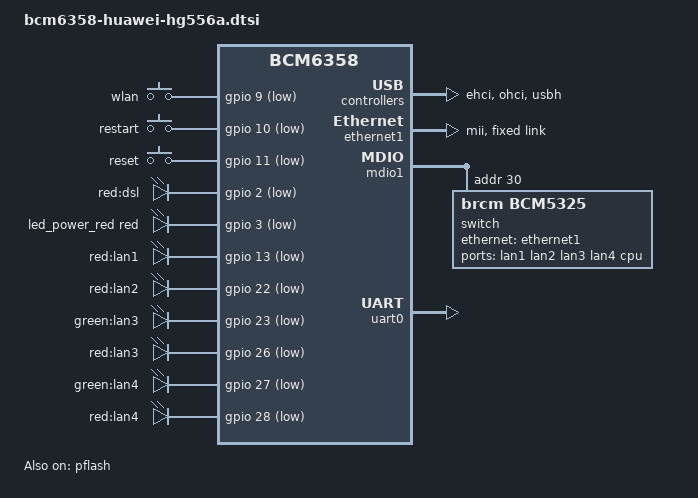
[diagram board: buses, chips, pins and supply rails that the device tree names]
// SPDX-License-Identifier: GPL-2.0-or-later

#include "bcm6358.dtsi"

/ {
	aliases {
		led-boot = &led_power_red;
		led-failsafe = &led_power_red;
		led-running = &led_power_red;
		led-upgrade = &led_power_red;
	};

	gpio_keys: keys {
		compatible = "gpio-keys-polled";
		poll-interval = <100>;

		wlan {
			label = "wlan";
			gpios = <&gpio 9 GPIO_ACTIVE_LOW>;
			linux,code = <KEY_WLAN>;
			debounce-interval = <60>;
		};

		restart {
			label = "restart";
			gpios = <&gpio 10 GPIO_ACTIVE_LOW>;
			linux,code = <KEY_RESTART>;
			debounce-interval = <60>;
		};

		reset {
			label = "reset";
			gpios = <&gpio 11 GPIO_ACTIVE_LOW>;
			linux,code = <KEY_CONFIG>;
			debounce-interval = <60>;
		};
	};

	gpio_leds: leds {
		compatible = "gpio-leds";

		led-2 {
			label = "red:dsl";
			gpios = <&gpio 2 GPIO_ACTIVE_LOW>;
		};

		led_power_red: led-3 {
			function = LED_FUNCTION_POWER;
			color = <LED_COLOR_ID_RED>;
			gpios = <&gpio 3 GPIO_ACTIVE_LOW>;
		};

		led-13 {
			label = "red:lan1";
			gpios = <&gpio 13 GPIO_ACTIVE_LOW>;
		};

		led-22 {
			label = "red:lan2";
			gpios = <&gpio 22 GPIO_ACTIVE_LOW>;
		};

		led-23 {
			label = "green:lan3";
			gpios = <&gpio 23 GPIO_ACTIVE_LOW>;
		};

		led-26 {
			label = "red:lan3";
			gpios = <&gpio 26 GPIO_ACTIVE_LOW>;
		};

		led-27 {
			label = "green:lan4";
			gpios = <&gpio 27 GPIO_ACTIVE_LOW>;
		};

		led-28 {
			label = "red:lan4";
			gpios = <&gpio 28 GPIO_ACTIVE_LOW>;
		};
	};
};

&ehci {
	status = "okay";
};

&ethernet1 {
	status = "okay";

	nvmem-cells = <&macaddr_cfe_6a0 0>;
	nvmem-cell-names = "mac-address";

	phy-mode = "mii";

	fixed-link {
		speed = <100>;
		full-duplex;
	};
};

&iudma {
	status = "okay";
};

&mdio1 {
	switch@1e {
		compatible = "brcm,bcm5325";
		reg = <30>;

		ports {
			#address-cells = <1>;
			#size-cells = <0>;

			port@0 {
				reg = <0>;
				label = "lan1";

				phy-mode = "mii";
			};

			port@1 {
				reg = <1>;
				label = "lan2";

				phy-mode = "mii";
			};

			port@2 {
				reg = <2>;
				label = "lan3";

				phy-mode = "mii";
			};

			port@3 {
				reg = <3>;
				label = "lan4";

				phy-mode = "mii";
			};

			port@5 {
				reg = <5>;
				label = "cpu";

				phy-mode = "internal";
				ethernet = <&ethernet1>;

				fixed-link {
					speed = <100>;
					full-duplex;
				};
			};
		};
	};
};

&ohci {
	status = "okay";
};

&pflash {
	status = "okay";

	partitions {
		compatible = "fixed-partitions";
		#address-cells = <1>;
		#size-cells = <1>;

		partition@0 {
			label = "cfe";
			reg = <0x000000 0x020000>;
			read-only;

			nvmem-layout {
				compatible = "fixed-layout";
				#address-cells = <1>;
				#size-cells = <1>;

				macaddr_cfe_6a0: macaddr@6a0 {
					compatible = "mac-base";
					reg = <0x6a0 0x6>;
					#nvmem-cell-cells = <1>;
				};
			};
		};

		partition@20000 {
			label = "firmware";
			reg = <0x020000 0xec0000>;
			compatible = "brcm,bcm963xx-imagetag";
		};

		cal_data: partition@ee0000 {
			label = "cal_data";
			reg = <0xee0000 0x100000>;
			read-only;
		};

		partition@fe0000 {
			label = "nvram";
			reg = <0xfe0000 0x020000>;
		};
	};
};

&uart0 {
	status = "okay";
};

&usbh {
	status = "okay";
};
